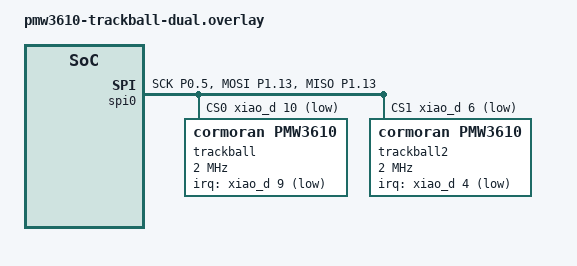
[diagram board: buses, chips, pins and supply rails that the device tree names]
#include <zephyr/dt-bindings/input/input-event-codes.h>

/*
 * Two PMW3610 devices sharing one SPI bus (two chip-selects), to build-test
 * DESIGN.md Phase F's per-device settings keys ("<param>@<id>") for more
 * than one device in a single firmware image. `trackball` sets an explicit
 * `settings-id` (the recommended, human-readable path); `trackball2` omits
 * it, exercising the devicetree-path-hash fallback.
 *
 * tester_xiao's default kscan wires all of xiao_d 0..10 as key inputs, which
 * conflicts with the SPI/IRQ/CS pins used below (D4, D5, D6, D8, D9, D10).
 * Restrict kscan to D0-D3 and shrink the matrix transform to match.
 */
&kscan0 {
	input-gpios
		= <&xiao_d 0 (GPIO_ACTIVE_LOW | GPIO_PULL_UP)>
		, <&xiao_d 1 (GPIO_ACTIVE_LOW | GPIO_PULL_UP)>
		, <&xiao_d 2 (GPIO_ACTIVE_LOW | GPIO_PULL_UP)>
		, <&xiao_d 3 (GPIO_ACTIVE_LOW | GPIO_PULL_UP)>
		;
};

/*
 * RC(row, col) here must be the matrix-transform variant, but the keymap's
 * own includes (dt-bindings/zmk/keys.h -> modifiers.h) redefine RC(keycode)
 * as a single-argument modifier helper. Since all devicetree
 * sources/overlays share one preprocessor pass, force the matrix-transform
 * definition back for this file.
 */
#undef RC
#include <dt-bindings/zmk/matrix_transform.h>

&transform0 {
	columns = <4>;
	map = <
	RC(0,0)  RC(0,1)  RC(0,2)  RC(0,3)
	>;
};

&pinctrl {
	spi0_default: spi0_default {
		group1 {
			psels = <NRF_PSEL(SPIM_SCK, 0, 5)>, <NRF_PSEL(SPIM_MOSI, 1, 13)>, <NRF_PSEL(SPIM_MISO, 1, 13)>;
		};
	};
	spi0_sleep: spi0_sleep {
		group1 {
			psels = <NRF_PSEL(SPIM_SCK, 0, 5)>, <NRF_PSEL(SPIM_MOSI, 1, 13)>, <NRF_PSEL(SPIM_MISO, 1, 13)>;
			low-power-enable;
		};
	};
};

&spi0 {
	compatible = "nordic,nrf-spim";
	status = "okay";
	pinctrl-0 = <&spi0_default>;
	pinctrl-1 = <&spi0_sleep>;
	pinctrl-names = "default", "sleep";
	cs-gpios = <&xiao_d 10 GPIO_ACTIVE_LOW>, <&xiao_d 6 GPIO_ACTIVE_LOW>;

	trackball: trackball@0 {
		status = "okay";
		compatible = "cormoran,pmw3610";
		reg = <0>;
		spi-max-frequency = <2000000>;
		irq-gpios = <&xiao_d 9 (GPIO_ACTIVE_LOW | GPIO_PULL_UP)>;
		evt-type = <INPUT_EV_REL>;
		x-input-code = <INPUT_REL_X>;
		y-input-code = <INPUT_REL_Y>;
		settings-id = "primary";
	};

	trackball2: trackball2@1 {
		status = "okay";
		compatible = "cormoran,pmw3610";
		reg = <1>;
		spi-max-frequency = <2000000>;
		irq-gpios = <&xiao_d 4 (GPIO_ACTIVE_LOW | GPIO_PULL_UP)>;
		evt-type = <INPUT_EV_REL>;
		x-input-code = <INPUT_REL_X>;
		y-input-code = <INPUT_REL_Y>;
		/* No settings-id: exercises the devicetree-path-hash fallback. */
	};
};

/ {
	trackball_listener {
		compatible = "zmk,input-listener";
		device = <&trackball>;
	};
	trackball2_listener {
		compatible = "zmk,input-listener";
		device = <&trackball2>;
	};
};
